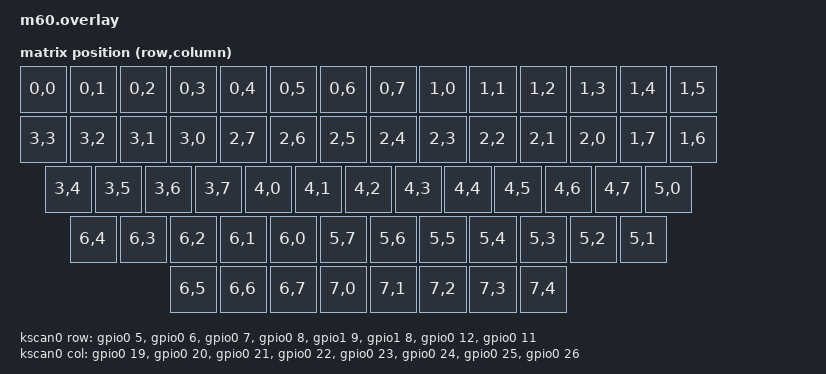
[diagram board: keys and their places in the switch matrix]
/*
 * 版权声明：该文件版权归ZMK贡献者所有
 * Copyright (c) 2020 The ZMK Contributors
 *
 * SPDX许可证标识符：该文件使用MIT许可证
 * SPDX-License-Identifier: MIT
 */

// 包含ZMK矩阵变换绑定定义
#include <dt-bindings/zmk/matrix_transform.h>

// 包含标准的60% ANSI布局定义
// 这定义了物理按键的排列方式，但不包含键值映射
#include <layouts/common/60percent/ansi.dtsi>

// 根节点开始
/ {
    // chosen节点：系统运行时选择的配置
    chosen {
        // 指定键盘扫描（keyscan）设备为kscan0
        zmk,kscan = &kscan0;
        // 指定物理布局为标准的60% ANSI布局
        zmk,physical-layout = &layout_60_ansi;
    };

    // 定义键盘扫描器（keyscan）
    // 这是检测按键按下/释放的核心组件
    kscan0: kscan {
        // 兼容性标识：GPIO矩阵扫描
        compatible = "zmk,kscan-gpio-matrix";
        // 唤醒源：键盘可以唤醒系统（从睡眠状态）
        wakeup-source;

        // 二极管方向：列到行（col2row）
        // 表示电流从列引脚流向行引脚
        diode-direction = "col2row";
        
        // 行GPIO引脚配置（8行）
        // 每行使用一个GPIO引脚，配置为上拉输入
        row-gpios
            = <&gpio0 5 (GPIO_ACTIVE_HIGH | GPIO_PULL_DOWN)>  // 行0
            , <&gpio0 6 (GPIO_ACTIVE_HIGH | GPIO_PULL_DOWN)>  // 行1
            , <&gpio0 7 (GPIO_ACTIVE_HIGH | GPIO_PULL_DOWN)>  // 行2
            , <&gpio0 8 (GPIO_ACTIVE_HIGH | GPIO_PULL_DOWN)>  // 行3
            , <&gpio1 9 (GPIO_ACTIVE_HIGH | GPIO_PULL_DOWN)>  // 行4
            , <&gpio1 8 (GPIO_ACTIVE_HIGH | GPIO_PULL_DOWN)>  // 行5
            , <&gpio0 12 (GPIO_ACTIVE_HIGH | GPIO_PULL_DOWN)> // 行6
            , <&gpio0 11 (GPIO_ACTIVE_HIGH | GPIO_PULL_DOWN)> // 行7
            ;
        
        // 列GPIO引脚配置（8列）
        // 每列使用一个GPIO引脚，配置为输出
        col-gpios
            = <&gpio0 19 GPIO_ACTIVE_HIGH>  // 列0
            , <&gpio0 20 GPIO_ACTIVE_HIGH>  // 列1
            , <&gpio0 21 GPIO_ACTIVE_HIGH>  // 列2
            , <&gpio0 22 GPIO_ACTIVE_HIGH>  // 列3
            , <&gpio0 23 GPIO_ACTIVE_HIGH>  // 列4
            , <&gpio0 24 GPIO_ACTIVE_HIGH>  // 列5
            , <&gpio0 25 GPIO_ACTIVE_HIGH>  // 列6
            , <&gpio0 26 GPIO_ACTIVE_HIGH>  // 列7
            ;
    };

    // 定义默认的矩阵变换
    // 将物理按键位置映射到逻辑按键位置
    default_transform: keymap_transform_0 {
        compatible = "zmk,matrix-transform";
        columns = <8>;  // 8列
        rows = <8>;     // 8行（8×8=64个可能的按键位置）
        
        // ASCII布局图，显示MX开关编号
        // | MX1  | MX2  | MX3  | MX4  | MX5  | MX6  | MX7  | MX8  | MX9  | MX10 | MX11 | MX12 | MX13 |    MX14     |
        // |   MX15   | MX16 | MX17 | MX18 | MX19 | MX20 | MX21 | MX22 | MX23 | MX24 | MX25 | MX26 | MX27 |  MX28   |
        // |    MX29    | MX30 | MX31 | MX32 | MX33 | MX34 | MX35 | MX36 | MX37 | MX38 | MX39 | MX40 |     MX41     |
        // |     MX42      | MX43 | MX44 | MX45 | MX46 | MX47 | MX48 | MX49 | MX50 | MX51 | MX52 |       MX53       |
        // |  MX54  |  MX55  |  MX56  |                  MX57                   |  MX58  |  MX59  |  MX60  |  MX61  |
        
        // map: 矩阵映射表
        // RC(row, col): 表示矩阵中的第row行第col列
        // 这个映射定义了每个按键在矩阵中的位置
        map = <
            // 第一行（14个键）
            RC(0,0)  RC(0,1) RC(0,2) RC(0,3) RC(0,4) RC(0,5) RC(0,6) RC(0,7) RC(1,0) RC(1,1) RC(1,2) RC(1,3) RC(1,4)     RC(1,5)
            
            // 第二行（14个键）
            RC(3,3)    RC(3,2) RC(3,1) RC(3,0) RC(2,7) RC(2,6) RC(2,5) RC(2,4) RC(2,3) RC(2,2) RC(2,1) RC(2,0) RC(1,7)   RC(1,6)
            
            // 第三行（13个键，最后一个键是2U Enter）
            RC(3,4)     RC(3,5) RC(3,6) RC(3,7) RC(4,0) RC(4,1) RC(4,2) RC(4,3) RC(4,4) RC(4,5) RC(4,6) RC(4,7)          RC(5,0)
            
            // 第四行（12个键，Shift键较大）
            RC(6,4)       RC(6,3) RC(6,2) RC(6,1) RC(6,0) RC(5,7) RC(5,6) RC(5,5) RC(5,4) RC(5,3) RC(5,2)                RC(5,1)
            
            // 第五行（8个键，空格键较大）
            RC(6,5)    RC(6,6)   RC(6,7)                     RC(7,0)                    RC(7,1)    RC(7,2)    RC(7,3)    RC(7,4)
        >;
    };
};

// 修改标准的60% ANSI布局，应用自定义的矩阵变换
&layout_60_ansi {
    transform = <&default_transform>;
};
